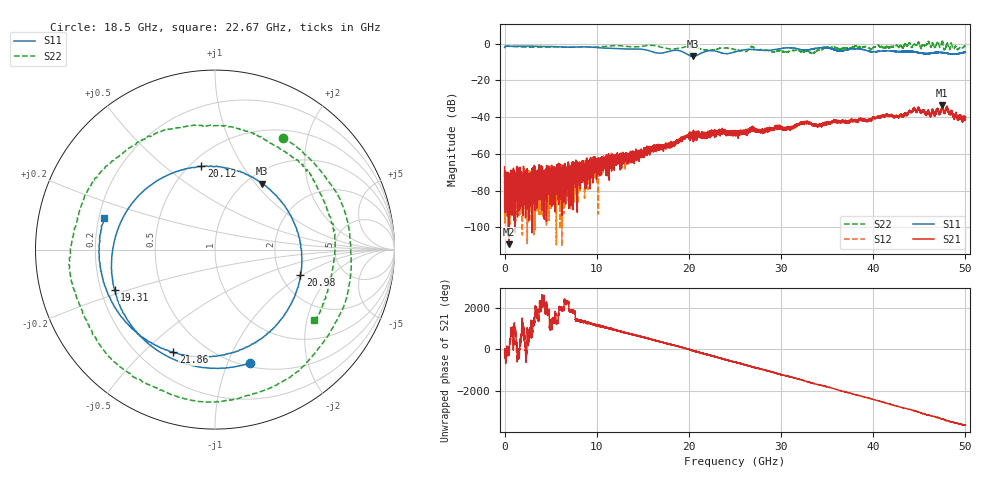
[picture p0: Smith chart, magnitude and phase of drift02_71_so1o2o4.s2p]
!Created with skrf (http://scikit-rf.org).
# Hz S RI R 50.0
!freq ReS11 ImS11 ReS21 ImS21 ReS12 ImS12 ReS22 ImS22
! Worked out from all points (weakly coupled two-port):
!   10001 points, 300 kHz to 50 GHz, reference 50 ohm
!   highest |S21| = -33.60 dB at 47.5 GHz (marker M1); lowest = -109.2 dB at 475.3 MHz (marker M2)
!   lowest |S11| = -6.9 dB at 20.44 GHz (marker M3), VSWR 2.65, Z = 58.5 + j54.1 ohm
!   |S11| at or under -10 dB: nowhere
!   |S22| runs from -5.3 to 1.7 dB; largest |S21 - S12| = 0.0034
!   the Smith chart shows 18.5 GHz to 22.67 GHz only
!   S11 on the Smith chart (normalised r, x): 18.5 GHz: 0.54, -1.20; 19.31 GHz: 0.26, -0.18; 20.12 GHz: 0.57, +0.68; 20.98 GHz: 2.56, -0.96; 21.86 GHz: 0.34, -0.62; 22.67 GHz: 0.22, +0.13
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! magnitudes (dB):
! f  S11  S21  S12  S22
! 300 kHz  -2.1  -67.1  -70.6  -1.3
! 260.3 MHz  -1.4  -79.6  -77.0  -1.4
! 475.3 MHz  -1.4  -109.2  -71.3  -1.4
! 4.505 GHz  -1.6  -76.8  -82.9  -2.0
! 8.335 GHz  -1.7  -70.0  -72.2  -1.9
! 16.67 GHz  -5.2  -55.3  -56.3  -1.5
! 18.5 GHz  -3.6  -54.5  -54.0  -2.8
! 19.31 GHz  -4.4  -51.4  -51.8  -2.1
! 20.12 GHz  -6.6  -50.5  -49.6  -1.6
! 20.44 GHz  -6.9  -50.4  -49.5  -1.8
! 20.98 GHz  -6.1  -48.3  -50.6  -2.2
! 21.86 GHz  -4.2  -49.7  -51.1  -3.5
! 22.67 GHz  -3.9  -49.7  -49.2  -3.4
! 25 GHz  -4.5  -47.4  -48.3  -3.2
! 26.11 GHz  -3.3  -47.2  -48.5  -4.3
! 26.91 GHz  -3.2  -46.9  -47.0  -1.7
! 33.34 GHz  -3.0  -43.8  -43.6  -5.2
! 34.88 GHz  -2.2  -44.0  -43.6  -2.3
! 41.67 GHz  -4.0  -39.7  -38.9  -2.1
! 44.63 GHz  -4.5  -36.3  -36.9  -0.6
! 47.5 GHz  -4.9  -33.6  -34.0  1.1
! 50 GHz  -4.7  -39.9  -39.9  -1.5
